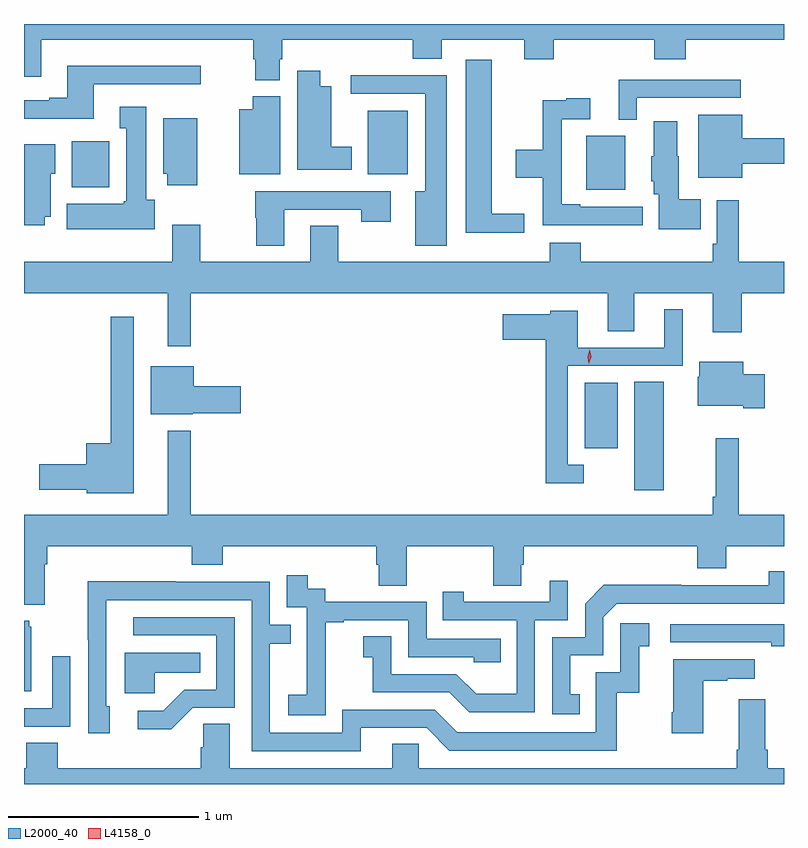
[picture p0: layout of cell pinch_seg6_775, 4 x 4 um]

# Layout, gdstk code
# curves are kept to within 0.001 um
import gdstk
lib = gdstk.Library(unit=1e-6, precision=1e-09)
def R(c, l, rs):  # rectangles x0, y0, x1, y1
    for r in rs: c.add(gdstk.rectangle(r[:2], r[2:], *l))
def P(c, l, *ps):  # polygons
    for p in ps: c.add(gdstk.Polygon(p, *l))
L2000_40 = (2000, 40)
L4158_0 = (4158, 0)

pinch_seg6_775 = lib.new_cell('pinch_seg6_775')
R(pinch_seg6_775, L2000_40, [(156.926,983.595,157.081,984.164), (156.665,983.816,156.838,984.16), (156.671,985.175,156.877,985.459), (153.965,985.19,154.162,985.432), (155.522,985.256,155.734,985.591)])
P(pinch_seg6_775, L2000_40, [(155.059,985.863),(155.072,985.863),(155.072,985.964),(155.759,985.964),(155.759,985.865),(155.911,985.865),(155.911,985.964),(156.347,985.964),(156.347,985.862),(156.5,985.862),(156.5,985.964),(157.031,985.964),(157.031,985.862),(157.196,985.862),(157.196,985.964),(157.713,985.964),(157.713,986.048),(153.713,986.048),(153.713,985.77),(153.805,985.77),(153.805,985.964),(154.919,985.964),(154.919,985.863),(154.931,985.863),(154.931,985.753),(155.059,985.753)],
  [(156.346,985.049),(156.175,985.049),(156.175,985.861),(156.038,985.861),(156.038,984.95),(156.346,984.95)],
  [(154.081,985.731),(154.642,985.731),(154.642,985.828),(153.941,985.828),(153.941,985.66),(153.845,985.66),(153.845,985.647),(153.713,985.647),(153.713,985.55),(154.081,985.55)],
  [(155.437,985.402),(155.329,985.402),(155.329,985.72),(155.272,985.72),(155.272,985.801),(155.15,985.801),(155.15,985.28),(155.437,985.28)],
  [(155.938,985.778),(155.433,985.778),(155.433,985.68),(155.825,985.68),(155.825,985.168),(155.771,985.168),(155.771,984.882),(155.938,984.882)],
  [(156.939,985.659),(157.486,985.659),(157.486,985.755),(156.842,985.755),(156.842,985.544),(156.939,985.544)],
  [(155.062,985.668),(154.916,985.668),(154.916,985.6),(154.847,985.6),(154.847,985.256),(155.062,985.256)],
  [(156.97,985.086),(156.64,985.086),(156.64,985.099),(156.543,985.099),(156.543,985.548),(156.694,985.548),(156.694,985.657),(156.566,985.657),(156.566,985.646),(156.442,985.646),(156.442,985.386),(156.3,985.386),(156.3,985.238),(156.442,985.238),(156.442,984.99),(156.727,984.99),(156.727,984.989),(156.97,984.989)],
  [(154.402,985.122),(154.357,985.122),(154.357,985.612),(154.217,985.612),(154.217,985.499),(154.25,985.499),(154.25,985.116),(154.237,985.116),(154.237,985.102),(153.938,985.102),(153.938,984.968),(154.402,984.968)],
  [(157.492,985.312),(157.713,985.312),(157.713,985.448),(157.492,985.448),(157.492,985.57),(157.262,985.57),(157.262,985.238),(157.492,985.238)],
  [(154.624,985.552),(154.445,985.552),(154.445,985.26),(154.466,985.26),(154.466,985.2),(154.624,985.2)],
  [(157.274,985.126),(157.159,985.126),(157.159,985.353),(157.15,985.353),(157.15,985.537),(157.028,985.537),(157.028,985.353),(157.013,985.353),(157.013,985.221),(157.028,985.221),(157.028,985.152),(157.055,985.152),(157.055,984.968),(157.274,984.968)],
  [(153.823,985.034),(153.853,985.034),(153.853,985.26),(153.877,985.26),(153.877,985.414),(153.713,985.414),(153.713,984.99),(153.823,984.99)],
  [(155.083,985.071),(155.488,985.071),(155.488,985.008),(155.644,985.008),(155.644,985.167),(154.931,985.167),(154.931,985.029),(154.936,985.029),(154.936,984.882),(155.083,984.882)],
  [(156.785,984.43),(156.925,984.43),(156.925,984.632),(157.337,984.632),(157.337,984.426),(157.49,984.426),(157.49,984.632),(157.713,984.632),(157.713,984.796),(157.475,984.796),(157.475,985.12),(157.359,985.12),(157.359,984.892),(157.339,984.892),(157.339,984.796),(156.644,984.796),(156.644,984.898),(156.479,984.898),(156.479,984.796),(155.367,984.796),(155.367,984.986),(155.219,984.986),(155.219,984.796),(154.641,984.796),(154.641,984.991),(154.493,984.991),(154.493,984.796),(153.713,984.796),(153.713,984.632),(154.469,984.632),(154.469,984.351),(154.591,984.351),(154.591,984.632),(156.785,984.632)],
  [(156.658,983.727),(156.576,983.727),(156.576,984.249),(157.18,984.249),(157.18,984.547),(157.082,984.547),(157.082,984.345),(156.628,984.345),(156.628,984.538),(156.483,984.538),(156.483,984.52),(156.234,984.52),(156.234,984.386),(156.46,984.386),(156.46,983.63),(156.658,983.63)],
  [(154.291,984.508),(154.17,984.508),(154.17,983.842),(154.04,983.842),(154.04,983.732),(153.792,983.732),(153.792,983.597),(154.044,983.597),(154.044,983.579),(154.291,983.579)],
  [(157.612,984.204),(157.498,984.204),(157.498,984.271),(157.268,984.271),(157.268,984.192),(157.259,984.192),(157.259,984.038),(157.499,984.038),(157.499,984.026),(157.612,984.026)],
  [(154.602,983.999),(154.855,983.999),(154.855,984.141),(154.606,984.141),(154.606,984.247),(154.379,984.247),(154.379,983.993),(154.602,983.993)],
  [(153.823,983.204),(153.836,983.204),(153.836,983.3),(154.595,983.3),(154.595,983.201),(154.76,983.201),(154.76,983.3),(155.567,983.3),(155.567,983.202),(155.579,983.202),(155.579,983.092),(155.727,983.092),(155.727,983.3),(156.184,983.3),(156.184,983.092),(156.331,983.092),(156.331,983.202),(156.344,983.202),(156.344,983.3),(157.256,983.3),(157.256,983.183),(157.408,983.183),(157.408,983.3),(157.713,983.3),(157.713,983.464),(157.475,983.464),(157.475,983.869),(157.354,983.869),(157.354,983.56),(157.339,983.56),(157.339,983.464),(154.591,983.464),(154.591,983.908),(154.469,983.908),(154.469,983.464),(153.713,983.464),(153.713,982.991),(153.823,982.991)],
  [(156.638,982.521),(156.589,982.521),(156.589,982.725),(156.762,982.725),(156.762,982.926),(156.834,982.998),(157.713,982.998),(157.713,983.167),(157.632,983.167),(157.632,983.094),(157.172,983.094),(157.172,983.096),(156.764,983.096),(156.666,982.998),(156.666,982.821),(156.492,982.821),(156.492,982.416),(156.638,982.416)],
  [(155.301,982.615),(155.3,982.615),(155.3,982.899),(155.395,982.899),(155.395,982.911),(155.736,982.911),(155.736,982.716),(156.081,982.716),(156.081,982.689),(156.221,982.689),(156.221,982.812),(155.832,982.812),(155.832,983.007),(155.298,983.007),(155.298,983.076),(155.206,983.076),(155.206,983.146),(155.097,983.146),(155.097,982.977),(155.202,982.977),(155.202,982.748),(155.201,982.748),(155.201,982.519),(155.103,982.519),(155.103,982.409),(155.301,982.409)],
  [(156.402,982.911),(156.576,982.911),(156.576,983.119),(156.479,983.119),(156.479,983.007),(156.028,983.007),(156.028,983.059),(155.917,983.059),(155.917,982.911),(156.306,982.911),(156.306,982.522),(156.092,982.522),(155.988,982.626),(155.646,982.626),(155.646,982.825),(155.499,982.825),(155.499,982.715),(155.548,982.715),(155.548,982.53),(155.951,982.53),(156.056,982.425),(156.402,982.425)],
  [(155.485,982.344),(155.832,982.344),(155.952,982.224),(156.832,982.224),(156.832,982.527),(156.95,982.527),(156.95,982.773),(157.003,982.773),(157.003,982.894),(156.852,982.894),(156.852,982.635),(156.723,982.635),(156.723,982.32),(155.994,982.32),(155.874,982.44),(155.388,982.44),(155.388,982.317),(155.007,982.317),(155.007,982.786),(155.117,982.786),(155.117,982.887),(155.007,982.887),(155.007,983.112),(154.511,983.112),(154.511,983.114),(154.048,983.114),(154.048,982.807),(154.05,982.807),(154.05,982.314),(154.165,982.314),(154.165,982.458),(154.146,982.458),(154.147,983.016),(154.911,983.016),(154.911,982.221),(155.485,982.221)],
  [(154.602,982.449),(154.821,982.449),(154.821,982.926),(154.287,982.926),(154.287,982.83),(154.725,982.83),(154.725,982.545),(154.556,982.545),(154.445,982.434),(154.311,982.434),(154.311,982.337),(154.489,982.337)],
  [(153.751,982.875),(153.74,982.875),(153.74,982.906),(153.713,982.906),(153.713,982.535),(153.751,982.535)],
  [(157.713,982.89),(157.113,982.89),(157.113,982.794),(157.645,982.794),(157.645,982.774),(157.713,982.774)],
  [(154.401,982.634),(154.64,982.634),(154.64,982.738),(154.244,982.738),(154.244,982.526),(154.401,982.526)],
  [(153.957,982.72),(153.861,982.72),(153.861,982.446),(153.713,982.446),(153.713,982.35),(153.957,982.35)],
  [(157.288,982.591),(157.415,982.591),(157.415,982.601),(157.558,982.601),(157.558,982.705),(157.13,982.705),(157.13,982.426),(157.123,982.426),(157.123,982.314),(157.288,982.314)],
  [(157.713,982.132),(157.628,982.132),(157.628,982.228),(157.615,982.228),(157.615,982.495),(157.475,982.495),(157.475,982.228),(157.463,982.228),(157.463,982.132),(155.79,982.132),(155.79,982.259),(155.651,982.259),(155.651,982.132),(154.795,982.132),(154.795,982.364),(154.656,982.364),(154.656,982.241),(154.643,982.241),(154.643,982.132),(153.89,982.132),(153.89,982.265),(153.725,982.265),(153.725,982.132),(153.713,982.132),(153.713,982.048),(157.713,982.048)])
P(pinch_seg6_775, L4158_0, [(156.686,984.261),(156.686,984.261),(156.679,984.298),(156.691,984.333),(156.691,984.334),(156.691,984.333),(156.698,984.297),(156.686,984.261)])

lib.write_gds('pinch_seg6_775.gds')
